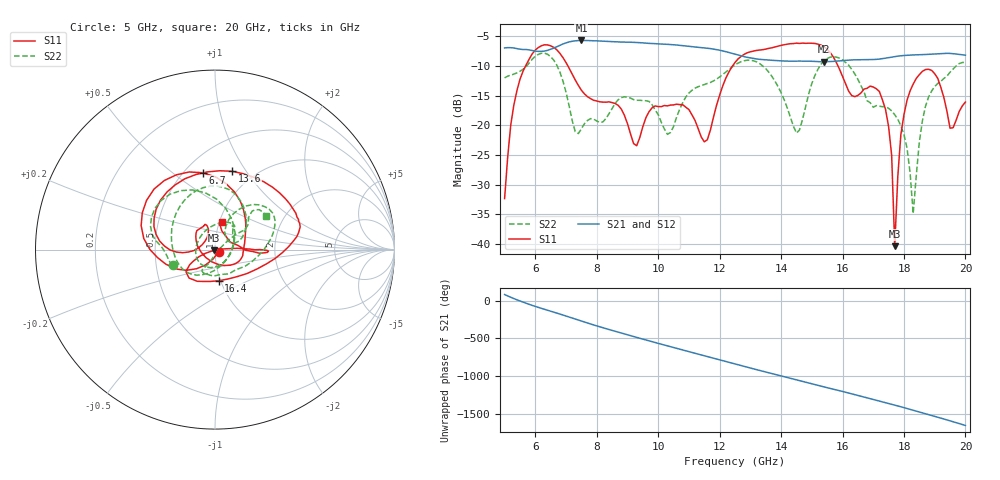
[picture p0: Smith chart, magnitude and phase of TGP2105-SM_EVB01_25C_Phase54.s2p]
! Date: Wednesday, June 05, 2013  1:52 PM
! Filename: C:\Data\Mike_Arnold\TGP2105-SM\Over_Temp\TGP2105-SM_EVB01_25C_Phase54.s2p
! Comments:
!^VDC(V):5.000
!^VDC(mA):0.098
!%Freq(GHz),S11(dB),S11(ang),S21(dB),S21(ang),S12(dB),S12(ang),S22(dB),S22(ang)
# GHz  S  DB  R  50
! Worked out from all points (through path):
!   151 points, 5 GHz to 20 GHz, reference 50 ohm
!   highest |S21| = -5.67 dB at 7.5 GHz (marker M1); lowest = -9.3 dB at 15.4 GHz (marker M2)
!   lowest |S11| = -40.3 dB at 17.7 GHz (marker M3), VSWR 1.02, Z = 49.2 - j0.487 ohm
!   |S11| at or under -10 dB: start of sweep to 5.681 GHz; 7.063 GHz to 12.41 GHz (5.352 GHz wide, 55 % of centre); 15.86 GHz to end of sweep
!   |S22| runs from -34.9 to -7.8 dB; largest |S21 - S12| = 0.0022
!   S11 on the Smith chart (normalised r, x): 5 GHz: 1.04, -0.02; 6.7 GHz: 0.61, +0.65; 13.6 GHz: 0.79, +0.86; 16.4 GHz: 0.98, -0.35; 20 GHz: 1.03, +0.32
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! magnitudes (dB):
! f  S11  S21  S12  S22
! 5 GHz  -32.3  -6.9  -6.9  -12.0
! 5.5 GHz  -12.2  -7.1  -7.2  -10.9
! 6.7 GHz  -7.3  -6.7  -6.7  -9.8
! 7.5 GHz  -14.1  -5.7  -5.7  -20.6
! 9.3 GHz  -23.4  -6.0  -6.0  -15.8
! 10 GHz  -16.8  -6.3  -6.3  -18.2
! 11.5 GHz  -22.8  -6.9  -6.9  -13.1
! 12.5 GHz  -9.4  -8.0  -8.0  -9.8
! 13.6 GHz  -7.0  -9.0  -9.0  -11.0
! 14.5 GHz  -6.1  -9.2  -9.2  -21.3
! 15 GHz  -6.1  -9.2  -9.2  -12.9
! 15.4 GHz  -6.7  -9.3  -9.3  -9.1
! 16.4 GHz  -15.1  -8.9  -9.0  -11.3
! 17.1 GHz  -13.8  -8.9  -8.9  -16.7
! 17.5 GHz  -20.2  -8.6  -8.6  -17.1
! 17.6 GHz  -25.0  -8.5  -8.5  -17.5
! 17.7 GHz  -40.3  -8.4  -8.4  -18.2
! 17.9 GHz  -21.5  -8.3  -8.3  -20.1
! 18.3 GHz  -13.0  -8.1  -8.1  -34.9
! 18.8 GHz  -10.5  -8.0  -8.0  -15.2
! 19.5 GHz  -20.5  -7.9  -7.9  -11.0
! 20 GHz  -16.1  -8.2  -8.2  -9.3
